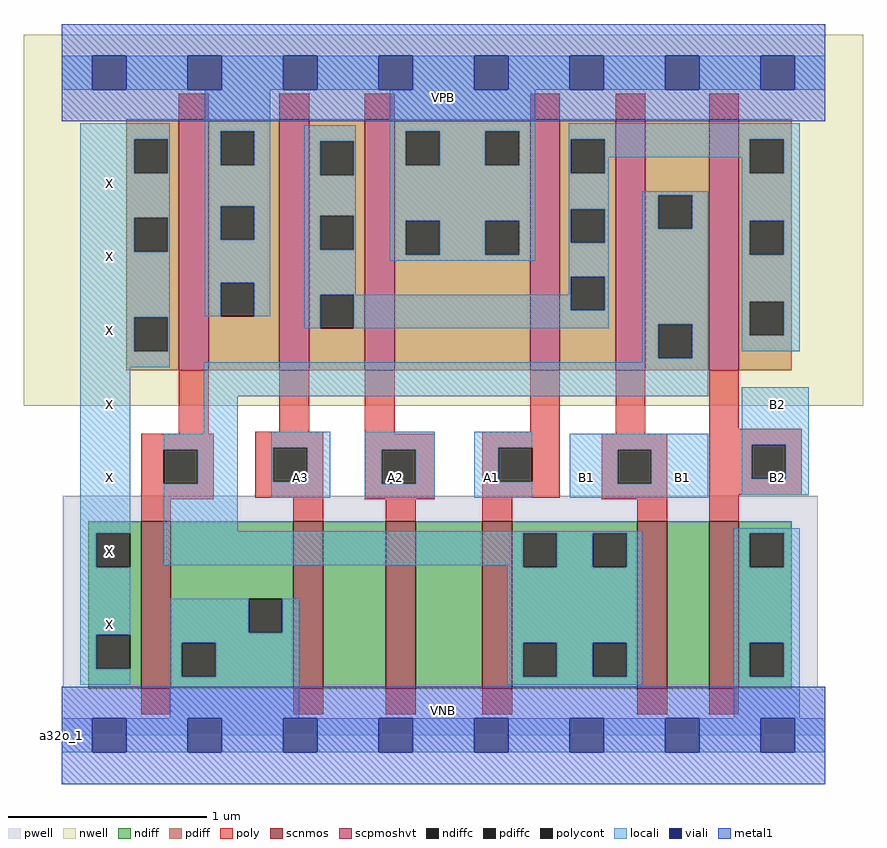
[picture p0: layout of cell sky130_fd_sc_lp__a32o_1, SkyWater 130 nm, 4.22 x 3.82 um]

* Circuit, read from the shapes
.subckt sky130_fd_sc_lp__a32o_1 A1 A2 A3 B1 B2 VGND VNB VPB VPWR X
XM1 VGND n1 X VNB sky130_fd_pr__nfet_01v8 w=0.84 l=0.15
XM2 n2 A3 VGND VNB sky130_fd_pr__nfet_01v8 w=0.84 l=0.15
XM3 n3 A2 n2 VNB sky130_fd_pr__nfet_01v8 w=0.84 l=0.15
XM4 n1 A1 n3 VNB sky130_fd_pr__nfet_01v8 w=0.84 l=0.15
XM5 n4 B1 n1 VNB sky130_fd_pr__nfet_01v8 w=0.84 l=0.15
XM6 VGND B2 n4 VNB sky130_fd_pr__nfet_01v8 w=0.84 l=0.15
XM7 VPWR n1 X VPB sky130_fd_pr__pfet_01v8_hvt w=1.26 l=0.15
XM8 n5 A3 VPWR VPB sky130_fd_pr__pfet_01v8_hvt w=1.26 l=0.15
XM9 VPWR A2 n5 VPB sky130_fd_pr__pfet_01v8_hvt w=1.26 l=0.15
XM10 n5 A1 VPWR VPB sky130_fd_pr__pfet_01v8_hvt w=1.26 l=0.15
XM11 n1 B1 n5 VPB sky130_fd_pr__pfet_01v8_hvt w=1.26 l=0.15
XM12 n5 B2 n1 VPB sky130_fd_pr__pfet_01v8_hvt w=1.26 l=0.15
.ends

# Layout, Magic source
magic
tech sky130A
magscale 1 2
<< nwell >>
rect -38 331 806 704
<< pwell >>
rect 1 49 760 241
rect 0 0 768 49
<< scnmos >>
rect 80 47 110 215
rect 233 47 263 215
rect 326 47 356 215
rect 423 47 453 215
rect 579 47 609 215
rect 651 47 681 215
<< scpmoshvt >>
rect 118 367 148 619
rect 219 367 249 619
rect 305 367 335 619
rect 471 367 501 619
rect 557 367 587 619
rect 651 367 681 619
<< ndiff >>
rect 27 203 80 215
rect 27 169 35 203
rect 69 169 80 203
rect 27 101 80 169
rect 27 67 35 101
rect 69 67 80 101
rect 27 47 80 67
rect 110 137 233 215
rect 110 103 188 137
rect 222 103 233 137
rect 110 93 233 103
rect 110 59 121 93
rect 155 59 233 93
rect 110 47 233 59
rect 263 47 326 215
rect 356 47 423 215
rect 453 203 579 215
rect 453 169 464 203
rect 498 169 534 203
rect 568 169 579 203
rect 453 93 579 169
rect 453 59 464 93
rect 498 59 534 93
rect 568 59 579 93
rect 453 47 579 59
rect 609 47 651 215
rect 681 203 734 215
rect 681 169 692 203
rect 726 169 734 203
rect 681 93 734 169
rect 681 59 692 93
rect 726 59 734 93
rect 681 47 734 59
<< pdiff >>
rect 65 599 118 619
rect 65 565 73 599
rect 107 565 118 599
rect 65 520 118 565
rect 65 486 73 520
rect 107 486 118 520
rect 65 420 118 486
rect 65 386 73 420
rect 107 386 118 420
rect 65 367 118 386
rect 148 607 219 619
rect 148 573 160 607
rect 194 573 219 607
rect 148 532 219 573
rect 148 498 160 532
rect 194 498 219 532
rect 148 455 219 498
rect 148 421 160 455
rect 194 421 219 455
rect 148 367 219 421
rect 249 597 305 619
rect 249 563 260 597
rect 294 563 305 597
rect 249 522 305 563
rect 249 488 260 522
rect 294 488 305 522
rect 249 443 305 488
rect 249 409 260 443
rect 294 409 305 443
rect 249 367 305 409
rect 335 607 471 619
rect 335 573 346 607
rect 380 573 426 607
rect 460 573 471 607
rect 335 517 471 573
rect 335 483 346 517
rect 380 483 426 517
rect 460 483 471 517
rect 335 367 471 483
rect 501 599 557 619
rect 501 565 512 599
rect 546 565 557 599
rect 501 529 557 565
rect 501 495 512 529
rect 546 495 557 529
rect 501 461 557 495
rect 501 427 512 461
rect 546 427 557 461
rect 501 367 557 427
rect 587 543 651 619
rect 587 509 600 543
rect 634 509 651 543
rect 587 413 651 509
rect 587 379 600 413
rect 634 379 651 413
rect 587 367 651 379
rect 681 599 734 619
rect 681 565 692 599
rect 726 565 734 599
rect 681 517 734 565
rect 681 483 692 517
rect 726 483 734 517
rect 681 436 734 483
rect 681 402 692 436
rect 726 402 734 436
rect 681 367 734 402
<< ndiffc >>
rect 35 169 69 203
rect 35 67 69 101
rect 188 103 222 137
rect 121 59 155 93
rect 464 169 498 203
rect 534 169 568 203
rect 464 59 498 93
rect 534 59 568 93
rect 692 169 726 203
rect 692 59 726 93
<< pdiffc >>
rect 73 565 107 599
rect 73 486 107 520
rect 73 386 107 420
rect 160 573 194 607
rect 160 498 194 532
rect 160 421 194 455
rect 260 563 294 597
rect 260 488 294 522
rect 260 409 294 443
rect 346 573 380 607
rect 426 573 460 607
rect 346 483 380 517
rect 426 483 460 517
rect 512 565 546 599
rect 512 495 546 529
rect 512 427 546 461
rect 600 509 634 543
rect 600 379 634 413
rect 692 565 726 599
rect 692 483 726 517
rect 692 402 726 436
<< poly >>
rect 118 619 148 645
rect 219 619 249 645
rect 305 619 335 645
rect 471 619 501 645
rect 557 619 587 645
rect 651 619 681 645
rect 118 303 148 367
rect 219 305 249 367
rect 80 287 153 303
rect 80 253 103 287
rect 137 253 153 287
rect 80 237 153 253
rect 195 289 263 305
rect 195 255 213 289
rect 247 255 263 289
rect 195 239 263 255
rect 80 215 110 237
rect 233 215 263 239
rect 305 303 335 367
rect 471 305 501 367
rect 305 287 375 303
rect 305 253 322 287
rect 356 253 375 287
rect 305 237 375 253
rect 423 289 501 305
rect 557 303 587 367
rect 651 308 681 367
rect 423 255 439 289
rect 473 255 501 289
rect 423 239 501 255
rect 543 287 609 303
rect 543 253 559 287
rect 593 253 609 287
rect 326 215 356 237
rect 423 215 453 239
rect 543 237 609 253
rect 579 215 609 237
rect 651 292 744 308
rect 651 258 694 292
rect 728 258 744 292
rect 651 242 744 258
rect 651 215 681 242
rect 80 21 110 47
rect 233 21 263 47
rect 326 21 356 47
rect 423 21 453 47
rect 579 21 609 47
rect 651 21 681 47
<< polycont >>
rect 103 253 137 287
rect 213 255 247 289
rect 322 253 356 287
rect 439 255 473 289
rect 559 253 593 287
rect 694 258 728 292
<< locali >>
rect 0 649 31 683
rect 65 649 127 683
rect 161 649 223 683
rect 257 649 319 683
rect 353 649 415 683
rect 449 649 511 683
rect 545 649 607 683
rect 641 649 703 683
rect 737 649 768 683
rect 19 599 109 615
rect 19 565 73 599
rect 107 565 109 599
rect 19 520 109 565
rect 19 486 73 520
rect 107 486 109 520
rect 19 420 109 486
rect 144 607 210 649
rect 144 573 160 607
rect 194 573 210 607
rect 144 532 210 573
rect 144 498 160 532
rect 194 498 210 532
rect 144 455 210 498
rect 144 421 160 455
rect 194 421 210 455
rect 244 597 296 613
rect 244 563 260 597
rect 294 563 296 597
rect 244 522 296 563
rect 244 488 260 522
rect 294 488 296 522
rect 244 443 296 488
rect 330 607 476 649
rect 330 573 346 607
rect 380 573 426 607
rect 460 573 476 607
rect 330 517 476 573
rect 330 483 346 517
rect 380 483 426 517
rect 460 483 476 517
rect 330 477 476 483
rect 510 599 742 615
rect 510 565 512 599
rect 546 581 692 599
rect 546 565 550 581
rect 510 529 550 565
rect 684 565 692 581
rect 726 565 742 599
rect 510 495 512 529
rect 546 495 550 529
rect 510 461 550 495
rect 510 443 512 461
rect 19 386 73 420
rect 107 386 109 420
rect 244 409 260 443
rect 294 427 512 443
rect 546 427 550 461
rect 294 409 550 427
rect 584 543 650 547
rect 584 509 600 543
rect 634 509 650 543
rect 584 413 650 509
rect 19 370 109 386
rect 584 379 600 413
rect 634 379 650 413
rect 684 517 742 565
rect 684 483 692 517
rect 726 483 742 517
rect 684 436 742 483
rect 684 402 692 436
rect 726 402 742 436
rect 684 386 742 402
rect 584 375 650 379
rect 19 203 69 370
rect 143 341 650 375
rect 143 303 177 341
rect 19 169 35 203
rect 103 287 177 303
rect 137 253 177 287
rect 103 205 177 253
rect 211 289 270 305
rect 211 255 213 289
rect 247 255 270 289
rect 211 239 270 255
rect 305 287 375 305
rect 305 253 322 287
rect 356 253 375 287
rect 305 239 375 253
rect 415 289 473 305
rect 415 255 439 289
rect 415 239 473 255
rect 511 287 650 303
rect 511 253 559 287
rect 593 253 650 287
rect 511 239 650 253
rect 684 292 751 350
rect 684 258 694 292
rect 728 258 751 292
rect 684 242 751 258
rect 103 203 584 205
rect 103 171 464 203
rect 19 101 69 169
rect 448 169 464 171
rect 498 169 534 203
rect 568 169 584 203
rect 19 67 35 101
rect 19 51 69 67
rect 109 103 188 137
rect 222 103 239 137
rect 109 93 239 103
rect 109 59 121 93
rect 155 59 239 93
rect 109 17 239 59
rect 448 93 584 169
rect 448 59 464 93
rect 498 59 534 93
rect 568 59 584 93
rect 448 51 584 59
rect 676 203 742 208
rect 676 169 692 203
rect 726 169 742 203
rect 676 93 742 169
rect 676 59 692 93
rect 726 59 742 93
rect 676 17 742 59
rect 0 -17 31 17
rect 65 -17 127 17
rect 161 -17 223 17
rect 257 -17 319 17
rect 353 -17 415 17
rect 449 -17 511 17
rect 545 -17 607 17
rect 641 -17 703 17
rect 737 -17 768 17
<< viali >>
rect 31 649 65 683
rect 127 649 161 683
rect 223 649 257 683
rect 319 649 353 683
rect 415 649 449 683
rect 511 649 545 683
rect 607 649 641 683
rect 703 649 737 683
rect 31 -17 65 17
rect 127 -17 161 17
rect 223 -17 257 17
rect 319 -17 353 17
rect 415 -17 449 17
rect 511 -17 545 17
rect 607 -17 641 17
rect 703 -17 737 17
<< metal1 >>
rect 0 683 768 715
rect 0 649 31 683
rect 65 649 127 683
rect 161 649 223 683
rect 257 649 319 683
rect 353 649 415 683
rect 449 649 511 683
rect 545 649 607 683
rect 641 649 703 683
rect 737 649 768 683
rect 0 617 768 649
rect 0 17 768 49
rect 0 -17 31 17
rect 65 -17 127 17
rect 161 -17 223 17
rect 257 -17 319 17
rect 353 -17 415 17
rect 449 -17 511 17
rect 545 -17 607 17
rect 641 -17 703 17
rect 737 -17 768 17
rect 0 -49 768 -17
<< labels >>
flabel pwell s 0 0 768 49 0 FreeSans 200 0 0 0 VNB
port 7 nsew ground bidirectional
flabel nwell s 0 617 768 666 0 FreeSans 200 0 0 0 VPB
port 8 nsew power bidirectional
rlabel comment s 0 0 0 0 4 a32o_1
flabel metal1 s 0 617 768 666 0 FreeSans 340 0 0 0 VPWR
port 9 nsew power bidirectional
flabel metal1 s 0 0 768 49 0 FreeSans 340 0 0 0 VGND
port 6 nsew ground bidirectional
flabel locali s 415 242 449 276 0 FreeSans 340 0 0 0 A1
port 1 nsew signal input
flabel locali s 319 242 353 276 0 FreeSans 340 0 0 0 A2
port 2 nsew signal input
flabel locali s 223 242 257 276 0 FreeSans 340 0 0 0 A3
port 3 nsew signal input
flabel locali s 511 242 545 276 0 FreeSans 340 0 0 0 B1
port 4 nsew signal input
flabel locali s 607 242 641 276 0 FreeSans 340 0 0 0 B1
port 4 nsew signal input
flabel locali s 703 242 737 276 0 FreeSans 340 0 0 0 B2
port 5 nsew signal input
flabel locali s 703 316 737 350 0 FreeSans 340 0 0 0 B2
port 5 nsew signal input
flabel locali s 31 94 65 128 0 FreeSans 340 0 0 0 X
port 10 nsew signal output
flabel locali s 31 168 65 202 0 FreeSans 340 0 0 0 X
port 10 nsew signal output
flabel locali s 31 242 65 276 0 FreeSans 340 0 0 0 X
port 10 nsew signal output
flabel locali s 31 316 65 350 0 FreeSans 340 0 0 0 X
port 10 nsew signal output
flabel locali s 31 390 65 424 0 FreeSans 340 0 0 0 X
port 10 nsew signal output
flabel locali s 31 464 65 498 0 FreeSans 340 0 0 0 X
port 10 nsew signal output
flabel locali s 31 538 65 572 0 FreeSans 340 0 0 0 X
port 10 nsew signal output
<< properties >>
string LEFsite unit
string LEFclass CORE
string FIXED_BBOX 0 0 768 666
string GDS_FILE $PDKPATH/libs.ref/sky130_fd_sc_lp/gds/sky130_fd_sc_lp.gds
string LEFsymmetry X Y R90
string GDS_END 2161124
string GDS_START 2153076
<< end >>
